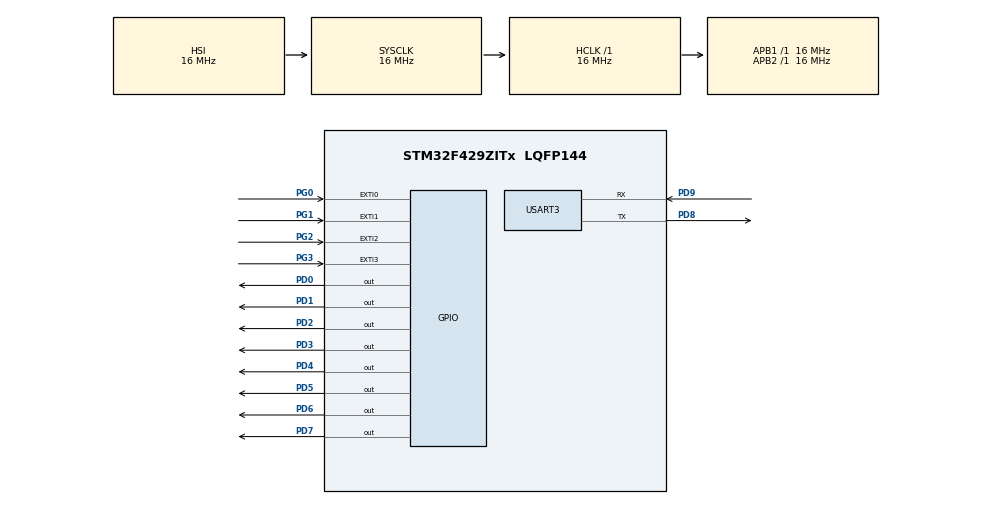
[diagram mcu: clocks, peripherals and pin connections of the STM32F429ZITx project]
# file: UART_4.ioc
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Mcu.Family=STM32F4
Mcu.Name=STM32F429ZITx
Mcu.Package=LQFP144
NVIC.EXTI0_IRQn=true\:0\:0\:false\:false\:true\:true\:true\:true
NVIC.EXTI1_IRQn=true\:0\:0\:false\:false\:true\:true\:true\:true
NVIC.EXTI2_IRQn=true\:0\:0\:false\:false\:true\:true\:true\:true
NVIC.EXTI3_IRQn=true\:0\:0\:false\:false\:true\:true\:true\:true
NVIC.PriorityGroup=NVIC_PRIORITYGROUP_4
NVIC.USART3_IRQn=true\:0\:0\:false\:false\:true\:true\:true\:true
PA13.Mode=Serial_Wire
PA13.Signal=SYS_JTMS-SWDIO
PA14.Mode=Serial_Wire
PA14.Signal=SYS_JTCK-SWCLK
PD0.GPIO_ModeDefaultOutputPP=GPIO_MODE_OUTPUT_PP
PD0.GPIO_PuPd=GPIO_PULLUP
PD0.GPIO_Speed=GPIO_SPEED_FREQ_HIGH
PD0.PinState=GPIO_PIN_RESET
PD0.Signal=GPIO_Output
PD1.GPIO_ModeDefaultOutputPP=GPIO_MODE_OUTPUT_PP
PD1.GPIO_PuPd=GPIO_PULLUP
PD1.GPIO_Speed=GPIO_SPEED_FREQ_HIGH
PD1.PinState=GPIO_PIN_RESET
PD1.Signal=GPIO_Output
PD2.GPIO_ModeDefaultOutputPP=GPIO_MODE_OUTPUT_PP
PD2.GPIO_PuPd=GPIO_PULLUP
PD2.GPIO_Speed=GPIO_SPEED_FREQ_HIGH
PD2.PinState=GPIO_PIN_RESET
PD2.Signal=GPIO_Output
PD3.GPIO_ModeDefaultOutputPP=GPIO_MODE_OUTPUT_PP
PD3.GPIO_PuPd=GPIO_PULLUP
PD3.GPIO_Speed=GPIO_SPEED_FREQ_HIGH
PD3.PinState=GPIO_PIN_RESET
PD3.Signal=GPIO_Output
PD4.GPIO_ModeDefaultOutputPP=GPIO_MODE_OUTPUT_PP
PD4.GPIO_PuPd=GPIO_PULLUP
PD4.GPIO_Speed=GPIO_SPEED_FREQ_HIGH
PD4.PinState=GPIO_PIN_RESET
PD4.Signal=GPIO_Output
PD5.GPIO_ModeDefaultOutputPP=GPIO_MODE_OUTPUT_PP
PD5.GPIO_PuPd=GPIO_PULLUP
PD5.GPIO_Speed=GPIO_SPEED_FREQ_HIGH
PD5.PinState=GPIO_PIN_RESET
PD5.Signal=GPIO_Output
PD6.GPIO_ModeDefaultOutputPP=GPIO_MODE_OUTPUT_PP
PD6.GPIO_PuPd=GPIO_PULLUP
PD6.GPIO_Speed=GPIO_SPEED_FREQ_HIGH
PD6.PinState=GPIO_PIN_RESET
PD6.Signal=GPIO_Output
PD7.GPIO_ModeDefaultOutputPP=GPIO_MODE_OUTPUT_PP
PD7.GPIO_PuPd=GPIO_PULLUP
PD7.GPIO_Speed=GPIO_SPEED_FREQ_HIGH
PD7.PinState=GPIO_PIN_RESET
PD7.Signal=GPIO_Output
PD8.Mode=Asynchronous
PD8.Signal=USART3_TX
PD9.Mode=Asynchronous
PD9.Signal=USART3_RX
PG0.GPIO_ModeDefaultEXTI=GPIO_MODE_IT_FALLING
PG0.GPIO_PuPd=GPIO_NOPULL
PG0.Signal=GPXTI0
PG1.GPIO_ModeDefaultEXTI=GPIO_MODE_IT_FALLING
PG1.GPIO_PuPd=GPIO_NOPULL
PG1.Signal=GPXTI1
PG2.GPIO_ModeDefaultEXTI=GPIO_MODE_IT_FALLING
PG2.GPIO_PuPd=GPIO_NOPULL
PG2.Signal=GPXTI2
PG3.GPIO_ModeDefaultEXTI=GPIO_MODE_IT_FALLING
PG3.GPIO_PuPd=GPIO_NOPULL
PG3.Signal=GPXTI3
ProjectManager.HeapSize=0x200
ProjectManager.StackSize=0x400
ProjectManager.TargetToolchain=STM32CubeIDE
RCC.AHBFreq_Value=16000000
RCC.APB1Freq_Value=16000000
RCC.APB2Freq_Value=16000000
RCC.CortexFreq_Value=16000000
RCC.HSE_VALUE=25000000
RCC.HSI_VALUE=16000000
RCC.LSE_VALUE=32768
RCC.SYSCLKFreq_VALUE=16000000
RCC.VCOOutputFreq_Value=192000000
USART3.VirtualMode=VM_ASYNC
board=custom

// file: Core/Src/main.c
/* USER CODE BEGIN Header */
/**
  ******************************************************************************
  * @file           : main.c
  * @brief          : Main program body
  ******************************************************************************
  * @attention
  *
  * Copyright (c) 2023 STMicroelectronics.
  * All rights reserved.
  *
  * This software is licensed under terms that can be found in the LICENSE file
  * in the root directory of this software component.
  * If no LICENSE file comes with this software, it is provided AS-IS.
  *
  ******************************************************************************
  */
/* USER CODE END Header */
#include "main.h"

/* USER CODE BEGIN PD */

#define TxBufferSize (countof(TxBuffer) - 1)
#define TxBufferSize_3 (countof(TxBuffer_3) - 1)
#define RxBufferSize 0xFF
#define countof(a) (sizeof(a) / sizeof(*(a)))

/* USER CODE END PD */

UART_HandleTypeDef huart3;

/* USER CODE BEGIN PV */

uint8_t TxBuffer[] = "\n\rUART Example 4 (Transmission Success !!)\n\r\n\r";
uint8_t TxBuffer_3[] = "\n\r A Message from HAL_UART_TxCpltCallback() !!\n\r\n\r";
uint8_t RxBuffer[RxBufferSize];

/* USER CODE END PV */

void SystemClock_Config(void);
static void MX_GPIO_Init(void);
static void MX_USART3_UART_Init(void);
/* USER CODE BEGIN PFP */

void LED_OnOff(int, int);

/* USER CODE END PFP */

int main(void)
{

  /* MCU Configuration--------------------------------------------------------*/

  /* Reset of all peripherals, Initializes the Flash interface and the Systick. */
  HAL_Init();

  /* Configure the system clock */
  SystemClock_Config();

  /* Initialize all configured peripherals */
  MX_GPIO_Init();
  MX_USART3_UART_Init();
  /* USER CODE BEGIN 2 */

  LED_OnOff(LED_ALL, 500);
  HAL_UART_Transmit(&huart3, (uint8_t*)TxBuffer, TxBufferSize , 0xFFFF);

  /* USER CODE END 2 */

  /* Infinite loop */
  /* USER CODE BEGIN WHILE */
  while (1)
  {
	  HAL_UART_Receive_IT(&huart3, (uint8_t*)RxBuffer, 1);
    /* USER CODE END WHILE */

  }
}

void SystemClock_Config(void)
{
  RCC_OscInitTypeDef RCC_OscInitStruct = {0};
  RCC_ClkInitTypeDef RCC_ClkInitStruct = {0};

  /** Configure the main internal regulator output voltage
  */
  __HAL_RCC_PWR_CLK_ENABLE();
  __HAL_PWR_VOLTAGESCALING_CONFIG(PWR_REGULATOR_VOLTAGE_SCALE3);

  /** Initializes the RCC Oscillators according to the specified parameters
  * in the RCC_OscInitTypeDef structure.
  */
  RCC_OscInitStruct.OscillatorType = RCC_OSCILLATORTYPE_HSI;
  RCC_OscInitStruct.HSIState = RCC_HSI_ON;
  RCC_OscInitStruct.HSICalibrationValue = RCC_HSICALIBRATION_DEFAULT;
  RCC_OscInitStruct.PLL.PLLState = RCC_PLL_NONE;
  if (HAL_RCC_OscConfig(&RCC_OscInitStruct) != HAL_OK)
  {
    Error_Handler();
  }

  /** Initializes the CPU, AHB and APB buses clocks
  */
  RCC_ClkInitStruct.ClockType = RCC_CLOCKTYPE_HCLK|RCC_CLOCKTYPE_SYSCLK
                              |RCC_CLOCKTYPE_PCLK1|RCC_CLOCKTYPE_PCLK2;
  RCC_ClkInitStruct.SYSCLKSource = RCC_SYSCLKSOURCE_HSI;
  RCC_ClkInitStruct.AHBCLKDivider = RCC_SYSCLK_DIV1;
  RCC_ClkInitStruct.APB1CLKDivider = RCC_HCLK_DIV1;
  RCC_ClkInitStruct.APB2CLKDivider = RCC_HCLK_DIV1;

  if (HAL_RCC_ClockConfig(&RCC_ClkInitStruct, FLASH_LATENCY_0) != HAL_OK)
  {
    Error_Handler();
  }
}

static void MX_USART3_UART_Init(void)
{

  huart3.Instance = USART3;
  huart3.Init.BaudRate = 115200;
  huart3.Init.WordLength = UART_WORDLENGTH_8B;
  huart3.Init.StopBits = UART_STOPBITS_1;
  huart3.Init.Parity = UART_PARITY_NONE;
  huart3.Init.Mode = UART_MODE_TX_RX;
  huart3.Init.HwFlowCtl = UART_HWCONTROL_NONE;
  huart3.Init.OverSampling = UART_OVERSAMPLING_16;
  if (HAL_UART_Init(&huart3) != HAL_OK)
  {
    Error_Handler();
  }

}

static void MX_GPIO_Init(void)
{
  GPIO_InitTypeDef GPIO_InitStruct = {0};

  /* GPIO Ports Clock Enable */
  __HAL_RCC_GPIOG_CLK_ENABLE();
  __HAL_RCC_GPIOD_CLK_ENABLE();
  __HAL_RCC_GPIOA_CLK_ENABLE();

  /*Configure GPIO pin Output Level */
  HAL_GPIO_WritePin(GPIOD, GPIO_PIN_0|GPIO_PIN_1|GPIO_PIN_2|GPIO_PIN_3
                          |GPIO_PIN_4|GPIO_PIN_5|GPIO_PIN_6|GPIO_PIN_7, GPIO_PIN_RESET);

  /*Configure GPIO pins : PG0 PG1 PG2 PG3 */
  GPIO_InitStruct.Pin = GPIO_PIN_0|GPIO_PIN_1|GPIO_PIN_2|GPIO_PIN_3;
  GPIO_InitStruct.Mode = GPIO_MODE_IT_FALLING;
  GPIO_InitStruct.Pull = GPIO_NOPULL;
  HAL_GPIO_Init(GPIOG, &GPIO_InitStruct);

  /*Configure GPIO pins : PD0 PD1 PD2 PD3
                           PD4 PD5 PD6 PD7 */
  GPIO_InitStruct.Pin = GPIO_PIN_0|GPIO_PIN_1|GPIO_PIN_2|GPIO_PIN_3
                          |GPIO_PIN_4|GPIO_PIN_5|GPIO_PIN_6|GPIO_PIN_7;
  GPIO_InitStruct.Mode = GPIO_MODE_OUTPUT_PP;
  GPIO_InitStruct.Pull = GPIO_PULLUP;
  GPIO_InitStruct.Speed = GPIO_SPEED_FREQ_HIGH;
  HAL_GPIO_Init(GPIOD, &GPIO_InitStruct);

  /* EXTI interrupt init*/
  HAL_NVIC_SetPriority(EXTI0_IRQn, 0, 0);
  HAL_NVIC_EnableIRQ(EXTI0_IRQn);

  HAL_NVIC_SetPriority(EXTI1_IRQn, 0, 0);
  HAL_NVIC_EnableIRQ(EXTI1_IRQn);

  HAL_NVIC_SetPriority(EXTI2_IRQn, 0, 0);
  HAL_NVIC_EnableIRQ(EXTI2_IRQn);

  HAL_NVIC_SetPriority(EXTI3_IRQn, 0, 0);
  HAL_NVIC_EnableIRQ(EXTI3_IRQn);

}

/* USER CODE BEGIN 4 */

void LED_OnOff(int led, int interval)
{
	HAL_GPIO_WritePin(GPIO_LED, led, GPIO_PIN_SET );
	HAL_GPIO_WritePin(GPIO_LED_Nucleo, led, GPIO_PIN_SET );
	HAL_Delay(interval);
	HAL_GPIO_WritePin(GPIO_LED, led, GPIO_PIN_RESET );
	HAL_GPIO_WritePin(GPIO_LED_Nucleo, led, GPIO_PIN_RESET );
}
void HAL_UART_TxCpltCallback(UART_HandleTypeDef *UartHandler)
{
	HAL_UART_Transmit(UartHandler, (uint8_t*)TxBuffer_3, TxBufferSize_3 , 0xFFFF);
}
void HAL_UART_RxCpltCallback(UART_HandleTypeDef *UartHandler)
{
	HAL_UART_Transmit_IT(UartHandler, (uint8_t*)RxBuffer, 1);
}

/* USER CODE END 4 */

void Error_Handler(void)
{
  __disable_irq();
  while (1)
  {
  }
}
